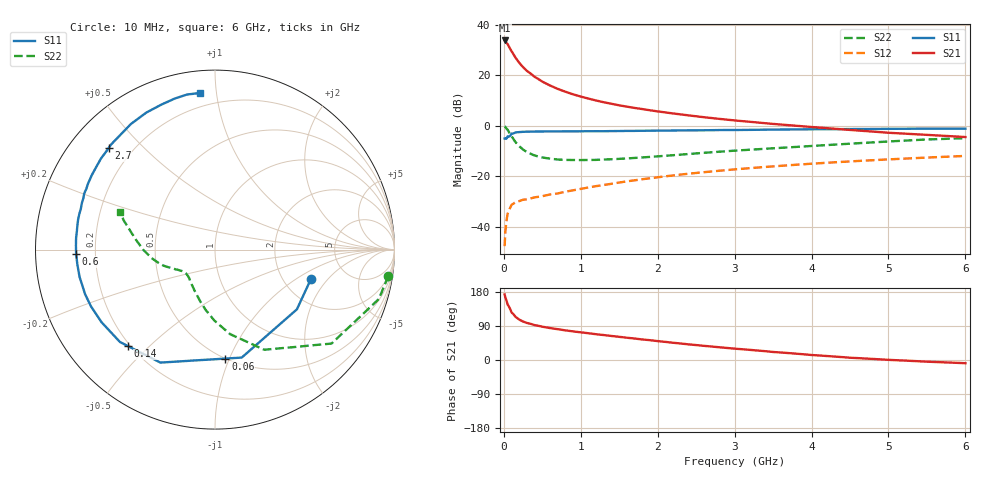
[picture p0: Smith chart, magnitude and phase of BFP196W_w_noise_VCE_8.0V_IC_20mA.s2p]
! (c) 2017  Infineon Technologies AG, Munich
! Infineon Technologies  Discrete & RF Semiconductors
! BFP196W
! VCE =  8.0 V,  IC =  20 mA
! Common Emitter S-Parameters:  Jan 2017
# GHz  S  MA  R  50
!  f  S11  S21  S12  S22
! GHz  MAG  ANG  MAG  ANG  MAG  ANG  MAG  ANG
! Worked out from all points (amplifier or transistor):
!   77 points, 10 MHz to 6 GHz, reference 50 ohm
!   highest |S21| = 33.9 dB at 10 MHz (marker M1)
!   |S21| within 3 dB of that: start of sweep to 76.6 MHz
!   unconditionally stable (mu >= 1): 1.034 GHz to 3.211 GHz
!   at 130 MHz: K = 0.23, MSG = 29.4 dB, |S12| = -30.8 dB
!   at 2.2 GHz: K = 1.06, MAG = 10.8 dB, |S12| = -19.7 dB
!   at 6 GHz: K = 0.89, MSG = 3.7 dB, |S12| = -11.9 dB
!   lowest NFmin = 1.02 dB at 450 MHz
!   S11 on the Smith chart (normalised r, x): 10 MHz: 2.80, -1.35; 60 MHz: 0.50, -0.97; 140 MHz: 0.19, -0.43; 600 MHz: 0.13, -0.01; 2.7 GHz: 0.12, +0.40; 6 GHz: 0.12, +0.90
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0.01  0.5587 -17.3  49.27 173.1  0.0041 80.0  0.9768 -8.7
0.02  0.5648 -36.1  47.87 165.1  0.0081 75.4  0.9533 -16.8
0.05  0.6197 -76.1  41.42 146.2  0.0183 61.0  0.834 -38.9
0.06  0.6099 -84.5  38.85 143.1  0.0199 56.7  0.7818 -42.7
0.1  0.6992 -115.8  30.18 125.6  0.027 45.1  0.6219 -63.8
0.14  0.7238 -132.0  24.05 117.0  0.0298 38.5  0.5032 -76.0
0.15  0.7385 -135.8  22.63 114.2  0.0305 37.1  0.4782 -79.9
0.2  0.7506 -147.4  17.76 106.7  0.0321 34.1  0.3941 -90.7
0.25  0.7598 -155.3  14.55 101.4  0.0342 33.2  0.3382 -99.1
0.3  0.7652 -161.0  12.28 97.8  0.0348 33.7  0.3009 -105.7
0.4  0.7699 -168.7  9.37 92.0  0.0381 34.8  0.2577 -115.8
0.5  0.7714 -174.0  7.527 87.9  0.0402 38.0  0.2356 -122.9
0.6  0.7742 -178.3  6.304 84.3  0.0435 40.0  0.2231 -128.4
0.8  0.7767 175.1  4.742 78.2  0.0493 45.3  0.2109 -135.2
1.1  0.7809 167.5  3.463 70.6  0.0599 49.3  0.2102 -141.6
1.5  0.7869 158.9  2.549 61.1  0.075 52.5  0.221 -147.6
2.1  0.8038 146.9  1.842 47.8  0.0995 53.0  0.2543 -155.3
2.7  0.8192 136.4  1.426 35.6  0.1242 51.2  0.2986 -162.5
3.1  0.8279 129.9  1.238 28.4  0.1406 49.0  0.3284 -167.7
4.1  0.8546 115.3  0.922 11.9  0.181 42.8  0.4061 178.9
5.1  0.8717 104.1  0.714 -0.5  0.2193 35.5  0.4978 165.9
6  0.8767 95.5  0.599 -8.5  0.2527 28.6  0.568 158.3
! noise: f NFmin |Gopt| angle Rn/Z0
0.45  1.02  0.4  170  0.05
0.9  1.2  0.51  178  0.05
1.9  2.11  0.69  -155  0.11
2.4  2.55  0.74  -147  0.2
